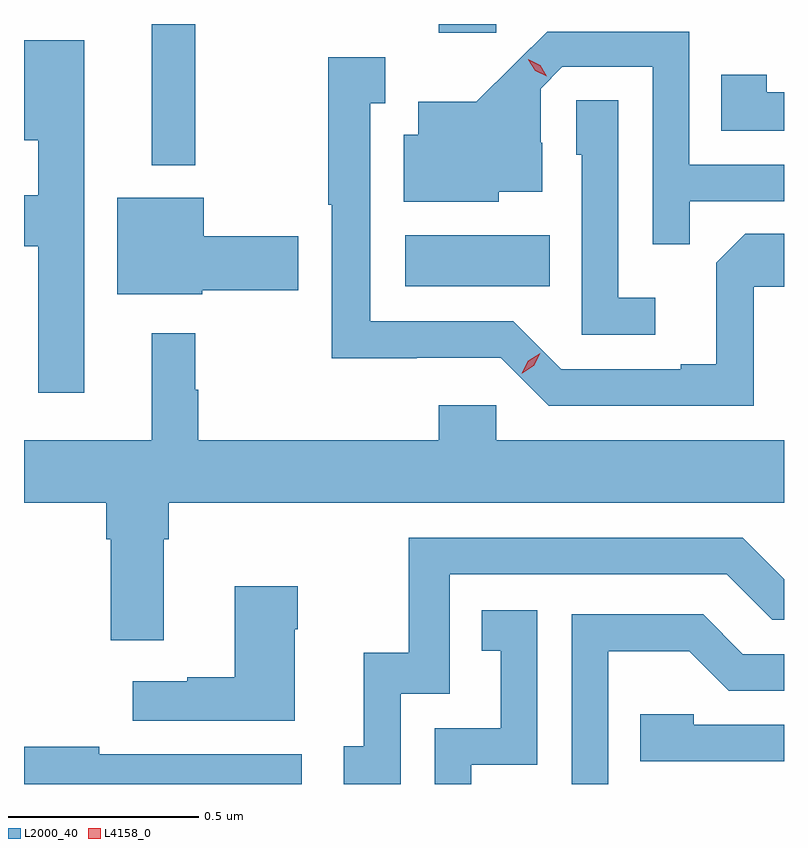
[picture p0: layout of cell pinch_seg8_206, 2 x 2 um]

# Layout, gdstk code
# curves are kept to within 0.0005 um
import gdstk
lib = gdstk.Library(unit=1e-6, precision=1e-09)
def R(c, l, rs):  # rectangles x0, y0, x1, y1
    for r in rs: c.add(gdstk.rectangle(r[:2], r[2:], *l))
def P(c, l, *ps):  # polygons
    for p in ps: c.add(gdstk.Polygon(p, *l))
L2000_40 = (2000, 40)
L4158_0 = (4158, 0)

pinch_seg8_206 = lib.new_cell('pinch_seg8_206')
R(pinch_seg8_206, L2000_40, [(625.776,1150.37,626.156,1150.504), (625.109,1150.688,625.223,1151.06), (625.865,1151.037,626.016,1151.06)])
P(pinch_seg8_206, L2000_40, [(626.525,1150.593),(626.773,1150.593),(626.773,1150.689),(626.523,1150.689),(626.523,1151.04),(626.15,1151.04),(625.963,1150.855),(625.811,1150.855),(625.811,1150.768),(625.772,1150.768),(625.772,1150.592),(626.022,1150.592),(626.022,1150.619),(626.137,1150.619),(626.137,1150.748),(626.133,1150.748),(626.133,1150.89),(626.19,1150.947),(626.427,1150.947),(626.427,1150.48),(626.525,1150.48)],
  [(624.931,1151.017),(624.773,1151.017),(624.773,1150.754),(624.81,1150.754),(624.81,1150.609),(624.773,1150.609),(624.773,1150.475),(624.81,1150.475),(624.81,1150.089),(624.931,1150.089)],
  [(626.694,1150.368),(626.773,1150.368),(626.773,1150.508),(626.671,1150.508),(626.595,1150.432),(626.595,1150.165),(626.501,1150.165),(626.501,1150.152),(626.187,1150.152),(626.061,1150.278),(625.684,1150.278),(625.684,1150.851),(625.723,1150.851),(625.723,1150.972),(625.573,1150.972),(625.573,1150.585),(625.583,1150.585),(625.583,1150.181),(625.806,1150.181),(625.806,1150.182),(626.028,1150.182),(626.154,1150.056),(626.694,1150.056)],
  [(626.773,1150.88),(626.727,1150.88),(626.727,1150.927),(626.608,1150.927),(626.608,1150.779),(626.773,1150.779)],
  [(626.434,1150.339),(626.337,1150.339),(626.337,1150.859),(626.226,1150.859),(626.226,1150.716),(626.241,1150.716),(626.241,1150.242),(626.434,1150.242)],
  [(625.242,1150.36),(625.495,1150.36),(625.495,1150.502),(625.246,1150.502),(625.246,1150.603),(625.019,1150.603),(625.019,1150.349),(625.242,1150.349)],
  [(625.141,1149.704),(625.154,1149.704),(625.154,1149.8),(626.773,1149.8),(626.773,1149.964),(626.016,1149.964),(626.016,1150.057),(625.865,1150.057),(625.865,1149.964),(625.231,1149.964),(625.231,1150.097),(625.223,1150.097),(625.223,1150.246),(625.109,1150.246),(625.109,1149.964),(624.773,1149.964),(624.773,1149.8),(624.989,1149.8),(624.989,1149.704),(625.001,1149.704),(625.001,1149.438),(625.141,1149.438)],
  [(625.764,1149.297),(625.893,1149.297),(625.893,1149.612),(626.622,1149.612),(626.742,1149.492),(626.773,1149.492),(626.773,1149.599),(626.664,1149.708),(625.785,1149.708),(625.785,1149.406),(625.667,1149.406),(625.667,1149.159),(625.614,1149.159),(625.614,1149.06),(625.764,1149.06)],
  [(625.486,1149.467),(625.494,1149.467),(625.494,1149.58),(625.328,1149.58),(625.328,1149.341),(625.202,1149.341),(625.202,1149.331),(625.059,1149.331),(625.059,1149.227),(625.486,1149.227)],
  [(625.95,1149.111),(626.124,1149.111),(626.124,1149.517),(625.978,1149.517),(625.978,1149.411),(626.027,1149.411),(626.027,1149.207),(625.854,1149.207),(625.854,1149.06),(625.95,1149.06)],
  [(626.31,1149.41),(626.524,1149.41),(626.628,1149.306),(626.773,1149.306),(626.773,1149.402),(626.665,1149.402),(626.56,1149.507),(626.214,1149.507),(626.214,1149.06),(626.31,1149.06)],
  [(626.773,1149.216),(626.535,1149.216),(626.535,1149.243),(626.395,1149.243),(626.395,1149.12),(626.773,1149.12)],
  [(625.504,1149.138),(624.971,1149.138),(624.971,1149.158),(624.773,1149.158),(624.773,1149.06),(625.504,1149.06)])
P(pinch_seg8_206, L4158_0, [(626.148,1150.922),(626.118,1150.937),(626.1,1150.966),(626.1,1150.967),(626.1,1150.967),(626.131,1150.952),(626.149,1150.922),(626.149,1150.922)],
  [(626.083,1150.141),(626.083,1150.141),(626.1,1150.174),(626.132,1150.194),(626.132,1150.194),(626.132,1150.194),(626.115,1150.161),(626.084,1150.141)])

lib.write_gds('pinch_seg8_206.gds')
